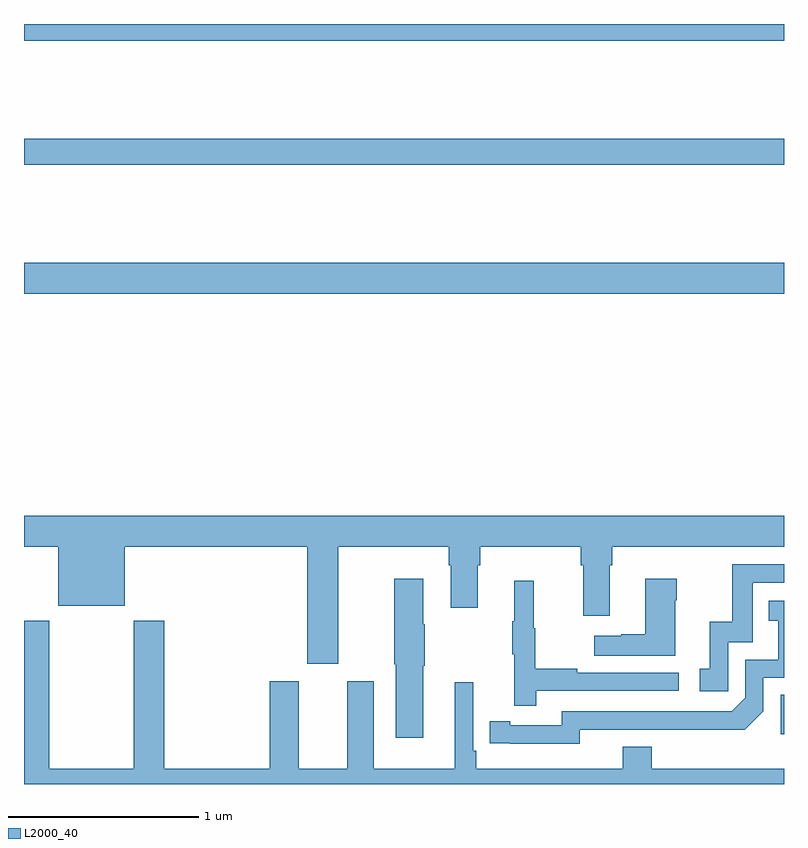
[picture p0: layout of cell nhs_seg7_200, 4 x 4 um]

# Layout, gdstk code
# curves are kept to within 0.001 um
import gdstk
lib = gdstk.Library(unit=1e-6, precision=1e-09)
def R(c, l, rs):  # rectangles x0, y0, x1, y1
    for r in rs: c.add(gdstk.rectangle(r[:2], r[2:], *l))
def P(c, l, *ps):  # polygons
    for p in ps: c.add(gdstk.Polygon(p, *l))
L2000_40 = (2000, 40)

nhs_seg7_200 = lib.new_cell('nhs_seg7_200')
R(nhs_seg7_200, L2000_40, [(128.982,1034.262,129,1034.469), (125,1036.58,129,1036.744), (125,1037.26,129,1037.396), (125,1037.912,129,1038)])
P(nhs_seg7_200, L2000_40, [(126.655,1035.248),(127.235,1035.248),(127.235,1035.152),(127.247,1035.152),(127.247,1034.928),(127.387,1034.928),(127.387,1035.152),(127.4,1035.152),(127.4,1035.248),(127.931,1035.248),(127.931,1035.152),(127.943,1035.152),(127.943,1034.886),(128.083,1034.886),(128.083,1035.152),(128.096,1035.152),(128.096,1035.248),(129,1035.248),(129,1035.412),(125,1035.412),(125,1035.248),(125.18,1035.248),(125.18,1034.939),(125.53,1034.939),(125.53,1035.248),(126.491,1035.248),(126.491,1034.634),(126.655,1034.634)],
  [(128.706,1034.745),(128.835,1034.745),(128.835,1035.06),(129,1035.06),(129,1035.156),(128.727,1035.156),(128.727,1034.853),(128.608,1034.853),(128.608,1034.607),(128.556,1034.607),(128.556,1034.487),(128.706,1034.487)],
  [(127.102,1034.623),(127.11,1034.623),(127.11,1034.84),(127.102,1034.84),(127.102,1035.079),(126.949,1035.079),(126.949,1034.629),(126.956,1034.629),(126.956,1034.244),(127.102,1034.244)],
  [(128.428,1034.966),(128.436,1034.966),(128.436,1035.079),(128.27,1035.079),(128.27,1034.789),(128.144,1034.789),(128.144,1034.779),(128.001,1034.779),(128.001,1034.675),(128.428,1034.675)],
  [(127.697,1034.49),(128.446,1034.49),(128.446,1034.586),(127.913,1034.586),(127.913,1034.606),(127.69,1034.606),(127.69,1034.82),(127.682,1034.82),(127.682,1035.07),(127.58,1035.07),(127.58,1034.857),(127.569,1034.857),(127.569,1034.683),(127.58,1034.683),(127.58,1034.412),(127.697,1034.412)],
  [(127.926,1034.286),(128.794,1034.285),(128.892,1034.382),(128.892,1034.559),(129,1034.559),(129,1034.965),(128.92,1034.965),(128.92,1034.859),(128.969,1034.859),(128.969,1034.655),(128.796,1034.655),(128.796,1034.454),(128.724,1034.382),(127.83,1034.382),(127.83,1034.31),(127.558,1034.31),(127.558,1034.33),(127.45,1034.33),(127.45,1034.214),(127.926,1034.213)],
  [(129,1034.08),(128.303,1034.08),(128.303,1034.197),(128.15,1034.197),(128.15,1034.08),(127.379,1034.08),(127.379,1034.176),(127.365,1034.176),(127.365,1034.536),(127.268,1034.536),(127.268,1034.08),(126.841,1034.08),(126.841,1034.542),(126.701,1034.542),(126.701,1034.08),(126.445,1034.08),(126.445,1034.542),(126.293,1034.542),(126.293,1034.08),(125.738,1034.08),(125.738,1034.86),(125.578,1034.86),(125.578,1034.08),(125.133,1034.08),(125.133,1034.86),(125,1034.86),(125,1034),(129,1034)])

lib.write_gds('nhs_seg7_200.gds')
